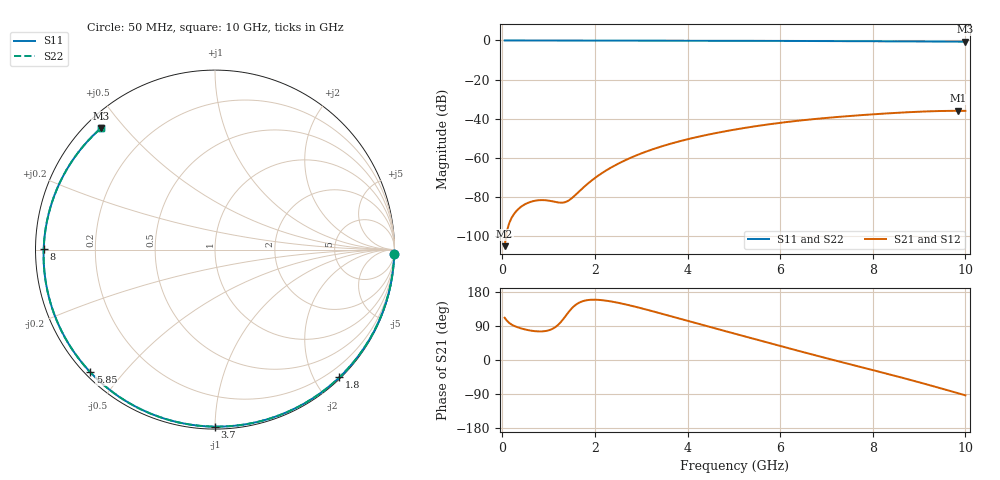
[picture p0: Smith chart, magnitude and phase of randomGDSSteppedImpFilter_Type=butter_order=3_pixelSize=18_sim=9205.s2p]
! freq	dB(S11)	phase(S11)	dB(S12)	phase(S12)
!  dB(S21)	phase(S21)	dB(S22)	phase(S22)
!S-par simulation data
#  GHz  S  DB  R 50
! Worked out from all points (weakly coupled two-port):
!   200 points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, 50 MHz to 10 GHz, reference 50 ohm
!   highest |S21| = -35.97 dB at 9.85 GHz (marker M1); lowest = -105.2 dB at 50 MHz (marker M2)
!   lowest |S11| = -0.6 dB at 10 GHz (marker M3), VSWR 26.85, Z = 2.21 + j21.6 ohm
!   |S11| at or under -10 dB: nowhere
!   |S22| runs from -0.6 to 0.0 dB; largest |S21 - S12| = 0
!   S11 on the Smith chart (normalised r, x): 50 MHz: 3, -92; 1.8 GHz: 0.02, -2.37; 3.7 GHz: 0.01, -1.00; 5.85 GHz: 0.02, -0.41; 8 GHz: 0.02, +0.00; 10 GHz: 0.04, +0.43
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0.05  -0.01 -1.2  -105.16 111.6  -105.16 111.6  -0.01 -1.2
0.4  -0.02 -10.3  -85.10 83.6  -85.10 83.6  -0.02 -10.3
0.75  -0.03 -19.3  -81.77 75.6  -81.77 75.6  -0.03 -19.3
1.5  -0.05 -38.3  -80.66 136.3  -80.66 136.3  -0.05 -38.3
1.55  -0.05 -39.6  -79.63 142.1  -79.63 142.1  -0.05 -39.5
1.75  -0.06 -44.5  -75.20 155.7  -75.20 155.7  -0.06 -44.5
1.8  -0.06 -45.7  -74.15 157.2  -74.15 157.2  -0.06 -45.7
2.1  -0.07 -53.0  -68.64 158.5  -68.64 158.5  -0.07 -53.0
2.5  -0.08 -62.6  -63.03 151.0  -63.03 151.0  -0.08 -62.6
2.9  -0.09 -72.0  -58.70 139.7  -58.70 139.7  -0.09 -72.0
3.4  -0.11 -83.4  -54.45 123.6  -54.45 123.6  -0.11 -83.4
3.7  -0.12 -90.1  -52.36 113.5  -52.36 113.5  -0.12 -90.1
4.35  -0.15 -104.2  -48.62 91.7  -48.62 91.7  -0.15 -104.2
5.05  -0.18 -119.0  -45.44 68.4  -45.44 68.4  -0.18 -119.0
5.85  -0.23 -135.5  -42.57 42.0  -42.57 42.0  -0.23 -135.5
6.7  -0.29 -152.9  -40.27 14.3  -40.27 14.3  -0.29 -152.9
7.35  -0.34 -166.4  -38.90 -6.4  -38.90 -6.4  -0.34 -166.4
8  -0.40 179.9  -37.77 -26.7  -37.77 -26.7  -0.40 179.9
8.35  -0.44 172.3  -37.24 -37.7  -37.24 -37.7  -0.44 172.3
9.1  -0.53 155.3  -36.33 -62.1  -36.33 -62.1  -0.53 155.3
9.85  -0.63 137.1  -35.97 -88.0  -35.97 -88.0  -0.63 137.1
10  -0.65 133.3  -36.00 -93.2  -36.00 -93.2  -0.65 133.3
